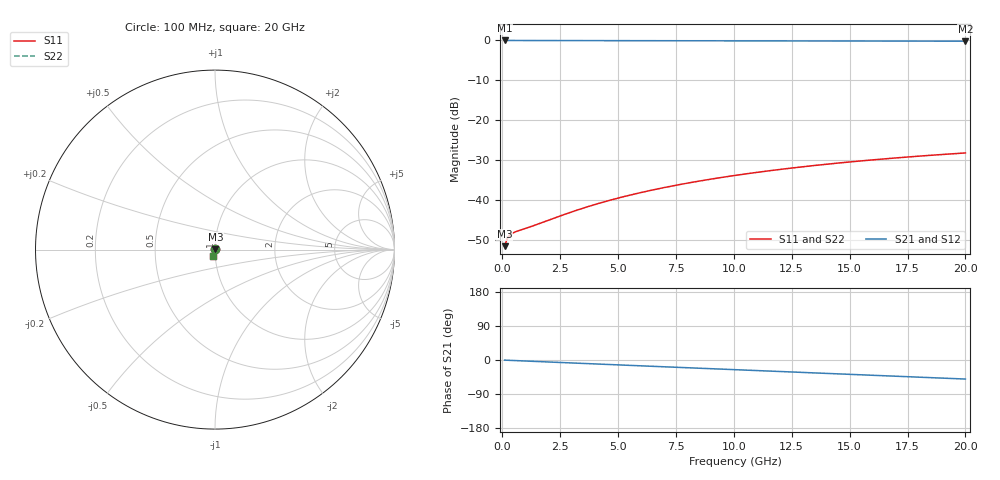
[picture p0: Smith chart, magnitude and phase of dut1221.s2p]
! Touchstone file exported from HFSS 2026.1.0
!  File:  C:/ffzhzh/LocalFiles/Ansys_Project_Files/temp_train_BSMRDL_1221_1783176814_18472.aedt
!  Generated:  10:55:01 PM Jul  4, 2026
!  Design:  BSMRDL
!  Project:  temp_train_BSMRDL_1221_1783176814_18472
! Variables:
!  h_bsmrdl = 5.12um
!  h_ox = 20um
!  h_rdl = 5um
!  h_sub = 80um
!  h_tmrdl = 5um
!  h_tsv = 80um
!  h_via = 3um
!  l_bsmrdl = 902.35um
!  l_sub = 1302.35um
!  l_tmrdl = 200um
!  m_sub = 200um
!  pitch = 34.75um
!  r_tsv = 6um
!  s_tmrdl = 10um
!  w_bsmrdl = 29.57um
!  w_sub = 500um
!  w_tmrdl = 12um
!  x_tsv_center1 = 206um
!  x_tsv_center2 = 1137.92um
!  x_tsv_center3 = 1349.92um
!  x_tsv_center4 = 2281.84um
!  x_tsv_center5 = 2493.84um
!  x_tsv_center6 = 3425.76um
# GHz S MA R 50.000000
! Terminal data exported
! Port[1] = BSM_RDL1_1_T1
! Port[2] = BSM_RDL1_1_T2
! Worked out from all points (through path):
!   200 points, 100 MHz to 20 GHz, reference 50 ohm
!   highest |S21| = -0.02 dB at 100 MHz (marker M1); lowest = -0.2 dB at 20 GHz (marker M2)
!   group delay of S21, straight-line fit = 6.95 ps
!   lowest |S11| = -51.5 dB at 100 MHz (marker M3), VSWR 1.01, Z = 50.3 + j0.0725 ohm
!   |S11| at or under -10 dB: start of sweep to end of sweep
!   |S22| runs from -51.5 to -28.1 dB; largest |S21 - S12| = 2.6e-14
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0.1  0.002657 15.8  0.9974 -0.3  0.9974 -0.3  0.002657 15.7
! Gamma 0 0 0 0
! Port Impedance 50 0 50 0
0.2  0.003237 16.8  0.9969 -0.6  0.9969 -0.6  0.00324 16.9
0.3  0.003588 14.4  0.9965 -0.8  0.9965 -0.8  0.003598 14.6
0.4  0.003795 12.2  0.9963 -1.1  0.9963 -1.1  0.003811 12.3
0.5  0.003936 10.4  0.9961 -1.4  0.9961 -1.4  0.003955 10.5
0.7  0.004145 8.0  0.9958 -1.9  0.9958 -1.9  0.004166 8.0
1.5  0.004971 1.6  0.995 -4.0  0.995 -4.0  0.004989 1.5
2.7  0.006654 -9.9  0.9933 -7.1  0.9933 -7.1  0.006672 -10.0
3.5  0.007961 -18.5  0.9921 -9.1  0.9921 -9.1  0.007986 -18.5
4.3  0.009352 -26.9  0.9909 -11.1  0.9909 -11.1  0.009389 -26.8
5.1  0.0108 -34.6  0.9898 -13.2  0.9898 -13.2  0.01085 -34.5
5.9  0.0123 -41.7  0.9888 -15.2  0.9888 -15.2  0.01236 -41.6
6.8  0.01401 -48.9  0.9878 -17.4  0.9878 -17.4  0.0141 -48.7
7.6  0.01557 -54.7  0.9869 -19.4  0.9869 -19.4  0.01566 -54.4
8.4  0.01714 -60.0  0.9861 -21.4  0.9861 -21.4  0.01725 -59.7
10.1  0.0205 -69.9  0.9845 -25.7  0.9845 -25.7  0.02065 -69.5
11.7  0.02367 -78.1  0.9832 -29.7  0.9832 -29.7  0.02386 -77.6
13.4  0.02701 -85.8  0.9818 -33.9  0.9818 -33.9  0.02722 -85.2
15  0.03008 -92.5  0.9805 -37.9  0.9805 -37.9  0.03033 -91.8
16.7  0.03324 -99.1  0.9792 -42.1  0.9792 -42.1  0.03353 -98.3
18.3  0.0361 -105.0  0.9781 -46.1  0.9781 -46.1  0.03643 -104.1
20  0.03898 -110.9  0.9768 -50.3  0.9768 -50.3  0.03935 -109.9
